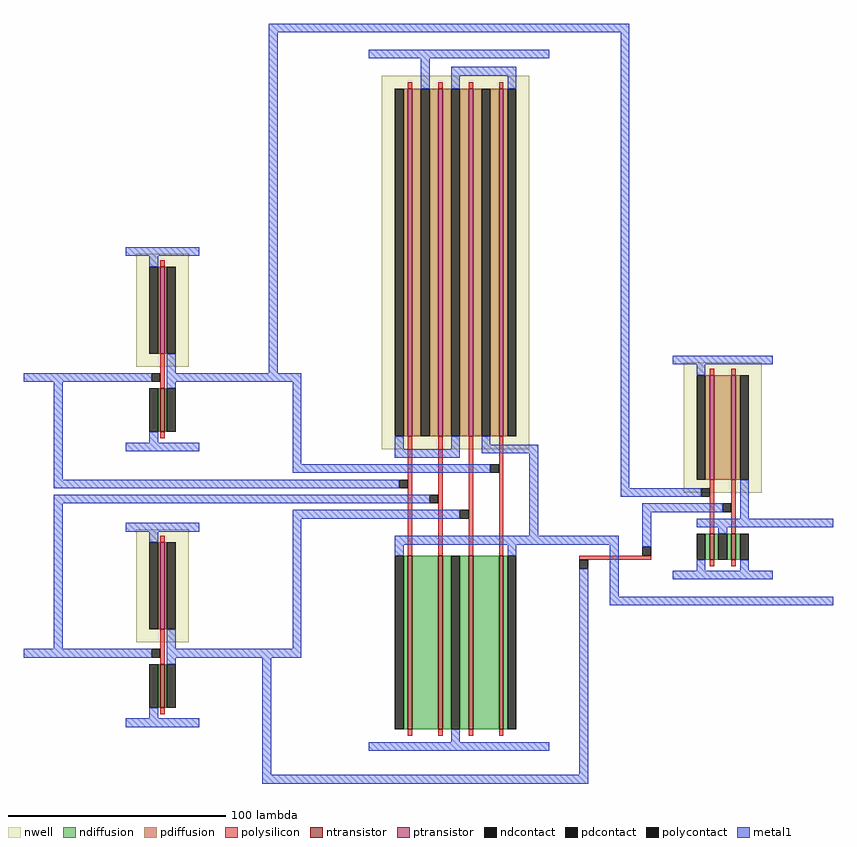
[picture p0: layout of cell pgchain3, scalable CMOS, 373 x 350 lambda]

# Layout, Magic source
magic
tech scmos
<< polysilicon >>
rect 107 88 140 90
<< polycontact >>
rect 136 90 140 94
rect 107 84 111 88
<< metal1 >>
rect -36 331 130 335
rect -36 174 -32 331
rect -149 170 -102 174
rect -68 170 -21 174
rect -135 125 -131 170
rect -25 132 -21 170
rect -25 128 0 132
rect -135 121 0 125
rect 126 121 130 331
rect -135 114 0 118
rect 126 117 149 121
rect -135 47 -131 114
rect -25 107 0 111
rect 136 110 149 114
rect -25 47 -21 107
rect 93 95 125 99
rect -149 43 -102 47
rect -68 43 -21 47
rect -39 -11 -35 43
rect 107 -11 111 84
rect 121 71 125 95
rect 136 94 140 110
rect 194 103 224 107
rect 121 67 224 71
rect -39 -15 111 -11
use inv_2W  inv_2W_0
transform 1 0 -81 0 1 183
box -21 -45 13 49
use inv_2W  inv_2W_1
transform 1 0 -81 0 1 56
box -21 -45 13 49
use xor_4W  xor_4W_0
transform 1 0 37 0 1 151
box -37 -151 56 172
use and  and_0
transform 1 0 180 0 1 127
box -31 -48 16 55
<< end >>

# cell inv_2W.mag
magic
tech scmos
<< nwell >>
rect -16 -6 8 46
<< ntransistor >>
rect -5 -36 -3 -16
<< ptransistor >>
rect -5 0 -3 40
<< ndiffusion >>
rect -6 -36 -5 -16
rect -3 -36 -2 -16
<< pdiffusion >>
rect -6 0 -5 40
rect -3 0 -2 40
<< ndcontact >>
rect -10 -36 -6 -16
rect -2 -36 2 -16
<< pdcontact >>
rect -10 0 -6 40
rect -2 0 2 40
<< polysilicon >>
rect -5 40 -3 43
rect -5 -16 -3 0
rect -5 -39 -3 -36
<< polycontact >>
rect -9 -13 -5 -9
<< metal1 >>
rect -21 45 13 49
rect -10 40 -6 45
rect -2 -9 2 0
rect -21 -13 -9 -9
rect -2 -13 13 -9
rect -2 -16 2 -13
rect -10 -41 -6 -36
rect -21 -45 13 -41
<< labels >>
rlabel metal1 -21 45 13 49 5 vdd
rlabel metal1 -21 -45 13 -41 1 gnd
rlabel metal1 -21 -13 -9 -9 1 input
rlabel metal1 -2 -13 13 -9 1 output
<< end >>

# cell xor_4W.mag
magic
tech scmos
<< nwell >>
rect -21 -12 47 160
<< ntransistor >>
rect -9 -141 -7 -61
rect 5 -141 7 -61
rect 19 -141 21 -61
rect 33 -141 35 -61
<< ptransistor >>
rect -9 -6 -7 154
rect 5 -6 7 154
rect 19 -6 21 154
rect 33 -6 35 154
<< ndiffusion >>
rect -11 -141 -9 -61
rect -7 -141 5 -61
rect 7 -141 11 -61
rect 15 -141 19 -61
rect 21 -141 33 -61
rect 35 -141 37 -61
<< pdiffusion >>
rect -11 -6 -9 154
rect -7 -6 -3 154
rect 1 -6 5 154
rect 7 -6 11 154
rect 15 -6 19 154
rect 21 -6 25 154
rect 29 -6 33 154
rect 35 -6 37 154
<< ndcontact >>
rect -15 -141 -11 -61
rect 11 -141 15 -61
rect 37 -141 41 -61
<< pdcontact >>
rect -15 -6 -11 154
rect -3 -6 1 154
rect 11 -6 15 154
rect 25 -6 29 154
rect 37 -6 41 154
<< polysilicon >>
rect -9 154 -7 157
rect 5 154 7 157
rect 19 154 21 157
rect 33 154 35 157
rect -9 -61 -7 -6
rect 5 -61 7 -6
rect 19 -61 21 -6
rect 33 -61 35 -6
rect -9 -144 -7 -141
rect 5 -144 7 -141
rect 19 -144 21 -141
rect 33 -144 35 -141
<< polycontact >>
rect -13 -30 -9 -26
rect 1 -37 5 -33
rect 15 -44 19 -40
rect 29 -23 33 -19
<< metal1 >>
rect -27 168 56 172
rect -3 154 1 168
rect 11 160 41 164
rect 11 154 15 160
rect 37 154 41 160
rect -15 -12 -11 -6
rect 11 -12 15 -6
rect -15 -16 15 -12
rect 25 -10 29 -6
rect 25 -14 51 -10
rect -37 -23 29 -19
rect -37 -30 -13 -26
rect -37 -37 1 -33
rect -37 -44 15 -40
rect 47 -52 51 -14
rect -15 -56 56 -52
rect -15 -61 -11 -56
rect 37 -61 41 -56
rect 11 -147 15 -141
rect -27 -151 56 -147
<< labels >>
rlabel metal1 -27 168 56 172 5 vdd
rlabel metal1 -27 -151 56 -147 1 gnd
rlabel metal1 -15 -56 56 -52 1 out
rlabel metal1 -37 -23 33 -19 1 in_a_bar
rlabel metal1 -37 -30 -9 -26 1 in_a
rlabel metal1 -37 -37 5 -33 1 in_b
rlabel metal1 -37 -44 19 -40 1 in_b_bar
<< end >>

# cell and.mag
magic
tech scmos
<< nwell >>
rect -25 -8 11 52
<< ntransistor >>
rect -13 -39 -11 -27
rect -3 -39 -1 -27
<< ptransistor >>
rect -13 -2 -11 46
rect -3 -2 -1 46
<< ndiffusion >>
rect -15 -39 -13 -27
rect -11 -39 -9 -27
rect -5 -39 -3 -27
rect -1 -39 1 -27
<< pdiffusion >>
rect -15 -2 -13 46
rect -11 -2 -3 46
rect -1 -2 1 46
<< ndcontact >>
rect -19 -39 -15 -27
rect -9 -39 -5 -27
rect 1 -39 5 -27
<< pdcontact >>
rect -19 -2 -15 46
rect 1 -2 5 46
<< polysilicon >>
rect -13 46 -11 49
rect -3 46 -1 49
rect -13 -27 -11 -2
rect -3 -27 -1 -2
rect -13 -42 -11 -39
rect -3 -42 -1 -39
<< polycontact >>
rect -17 -10 -13 -6
rect -7 -17 -3 -13
<< metal1 >>
rect -30 51 16 55
rect -19 46 -15 51
rect -31 -10 -17 -6
rect -31 -17 -7 -13
rect 1 -20 5 -2
rect -19 -24 14 -20
rect -9 -27 -5 -24
rect -19 -44 -15 -39
rect 1 -44 5 -39
rect -30 -48 16 -44
<< labels >>
rlabel metal1 -31 -10 -17 -6 1 in1
rlabel metal1 -31 -17 -7 -13 1 in2
rlabel metal1 -19 -24 14 -20 1 out
rlabel metal1 -30 51 16 55 5 vdd
rlabel metal1 -30 -48 16 -44 1 gnd
<< end >>
